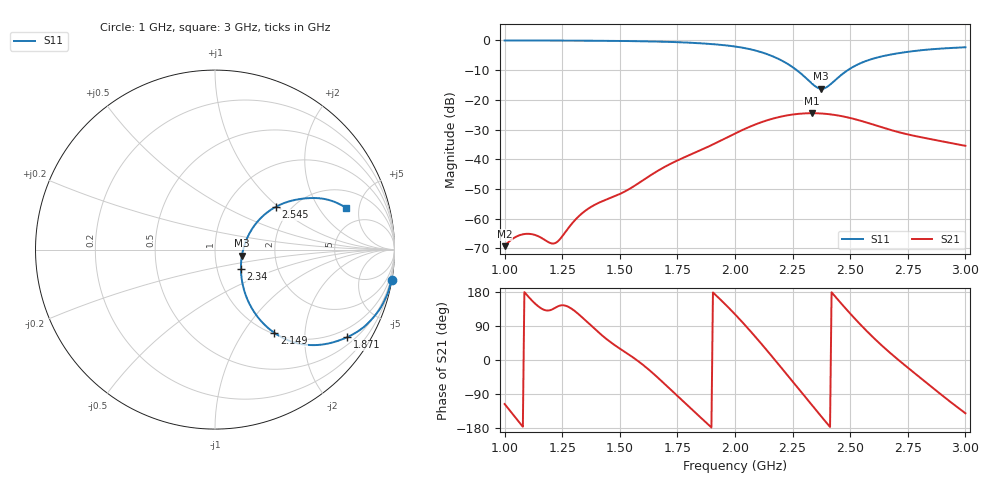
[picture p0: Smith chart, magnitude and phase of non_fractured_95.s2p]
! TOUCHSTONE file generated by CST MICROWAVE STUDIO
! Date and time: Sat Mar  8 13:54:37 2025
! Project name: non_fractured.cst
! Parameters = {B=2.5; D=160; F=5; Feed=2.85625; L=100; M=10; R=0.384908; S=2.5; Theta=180; length=57.125; wave=114.25}
! Header version: 2024
! Port assignment regex: !\s*Touchstone port\s*([0-9]+)\s*=\s*(CST MWS port|CST DES external port|CST DES block port)\s*(.+)\s* \(\"(.*)\"\)(\s*mode\s*([0-9]+))?.*
! Touchstone port assignment:
! Touchstone port 1 = CST MWS port 1 ("")
! Touchstone port 2 = CST MWS port 2 ("")
# GHz S DB R 50
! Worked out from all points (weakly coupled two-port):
!   304 points, 1 GHz to 3 GHz, reference 50 ohm
!   highest |S21| = -24.49 dB at 2.333 GHz (marker M1); lowest = -69.2 dB at 1 GHz (marker M2)
!   lowest |S11| = -16.3 dB at 2.373 GHz (marker M3), VSWR 1.36, Z = 67.5 - j4.64 ohm
!   |S11| at or under -10 dB: 2.268 GHz to 2.49 GHz (221.8 MHz wide, 9.33 % of centre)
!   S12 and S22 are empty: the file has one direction only
!   S11 on the Smith chart (normalised r, x): 1 GHz: 0, -12; 1.871 GHz: 0.71, -3.17; 2.149 GHz: 1.02, -1.40; 2.34 GHz: 1.30, -0.29; 2.545 GHz: 1.68, +0.96; 3 GHz: 3.24, +3.67
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1  -0.02 -9.7  -69.22 -116.0  -200.00 0.0  -200.00 0.0
1.0462  -0.02 -10.4  -66.19 -151.3  -200.00 0.0  -200.00 0.0
1.09241  -0.03 -11.0  -65.08 174.5  -200.00 0.0  -200.00 0.0
1.13201  -0.04 -11.6  -65.45 149.0  -200.00 0.0  -200.00 0.0
1.21782  -0.05 -13.0  -68.23 137.1  -200.00 0.0  -200.00 0.0
1.33663  -0.09 -15.2  -58.14 112.5  -200.00 0.0  -200.00 0.0
1.39604  -0.12 -16.5  -55.11 79.2  -200.00 0.0  -200.00 0.0
1.53465  -0.22 -20.0  -50.29 16.2  -200.00 0.0  -200.00 0.0
1.66667  -0.40 -24.2  -43.79 -47.5  -200.00 0.0  -200.00 0.0
1.87129  -1.08 -33.6  -36.20 -163.2  -200.00 0.0  -200.00 0.0
2.0033  -2.09 -42.4  -31.19 118.5  -200.00 0.0  -200.00 0.0
2.14851  -4.88 -54.5  -26.66 18.2  -200.00 0.0  -200.00 0.0
2.24752  -8.86 -57.6  -24.96 -55.0  -200.00 0.0  -200.00 0.0
2.33333  -14.47 -40.0  -24.49 -118.8  -200.00 0.0  -200.00 0.0
2.33993  -14.92 -36.5  -24.49 -123.7  -200.00 0.0  -200.00 0.0
2.37294  -16.27 -12.6  -24.58 -148.0  -200.00 0.0  -200.00 0.0
2.39934  -15.65 8.0  -24.75 -167.1  -200.00 0.0  -200.00 0.0
2.47855  -10.60 34.0  -25.72 137.0  -200.00 0.0  -200.00 0.0
2.54455  -7.67 35.1  -27.01 93.4  -200.00 0.0  -200.00 0.0
2.66997  -4.84 29.8  -30.00 20.5  -200.00 0.0  -200.00 0.0
2.83498  -3.11 23.0  -32.99 -62.1  -200.00 0.0  -200.00 0.0
3  -2.31 17.7  -35.45 -140.5  -200.00 0.0  -200.00 0.0
